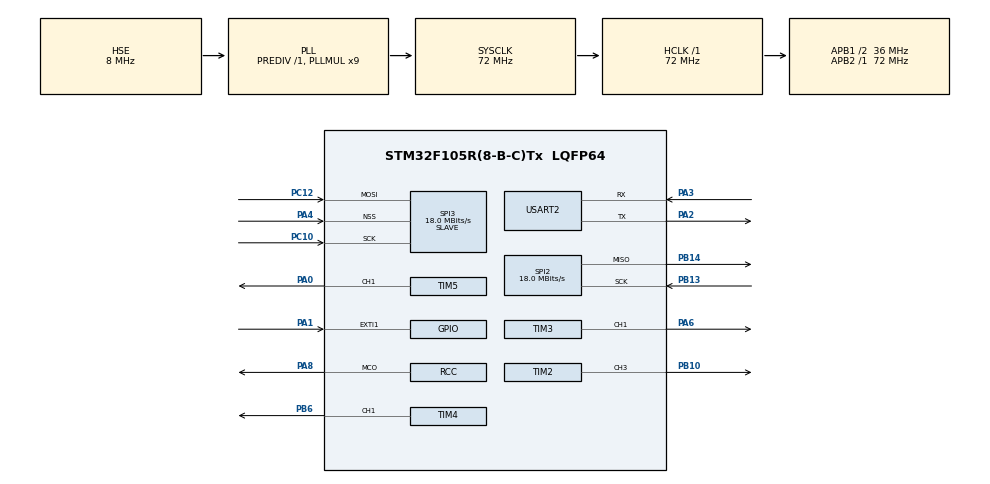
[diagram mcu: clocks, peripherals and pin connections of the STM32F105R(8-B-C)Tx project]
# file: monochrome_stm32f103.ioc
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Dma.Request0=SPI2_TX
Dma.Request1=SPI3_RX
Dma.SPI2_TX.0.Direction=DMA_MEMORY_TO_PERIPH
Dma.SPI2_TX.0.Instance=DMA1_Channel5
Dma.SPI2_TX.0.MemDataAlignment=DMA_MDATAALIGN_BYTE
Dma.SPI2_TX.0.MemInc=DMA_MINC_ENABLE
Dma.SPI2_TX.0.Mode=DMA_NORMAL
Dma.SPI2_TX.0.PeriphDataAlignment=DMA_PDATAALIGN_BYTE
Dma.SPI2_TX.0.PeriphInc=DMA_PINC_DISABLE
Dma.SPI2_TX.0.Priority=DMA_PRIORITY_VERY_HIGH
Dma.SPI3_RX.1.Direction=DMA_PERIPH_TO_MEMORY
Dma.SPI3_RX.1.Instance=DMA2_Channel1
Dma.SPI3_RX.1.MemDataAlignment=DMA_MDATAALIGN_BYTE
Dma.SPI3_RX.1.MemInc=DMA_MINC_ENABLE
Dma.SPI3_RX.1.Mode=DMA_NORMAL
Dma.SPI3_RX.1.PeriphDataAlignment=DMA_PDATAALIGN_BYTE
Dma.SPI3_RX.1.PeriphInc=DMA_PINC_DISABLE
Dma.SPI3_RX.1.Priority=DMA_PRIORITY_LOW
Mcu.Family=STM32F1
Mcu.Name=STM32F105R(8-B-C)Tx
Mcu.Package=LQFP64
NVIC.DMA1_Channel5_IRQn=true\:15\:0\:true\:false\:true\:false
NVIC.DMA2_Channel1_IRQn=true\:15\:0\:true\:false\:true\:false
NVIC.EXTI1_IRQn=true\:15\:0\:true\:false\:true\:true
NVIC.PriorityGroup=NVIC_PRIORITYGROUP_4
NVIC.TIM2_IRQn=true\:0\:0\:false\:false\:true\:true
PA0-WKUP.Signal=S_TIM5_CH1
PA1.GPIO_ModeDefaultEXTI=GPIO_MODE_IT_RISING_FALLING
PA1.Signal=GPXTI1
PA2.Mode=Asynchronous
PA2.Signal=USART2_TX
PA3.Mode=Asynchronous
PA3.Signal=USART2_RX
PA4.Mode=NSS_Signal_Hard_Input
PA4.Signal=SPI3_NSS
PA6.Signal=S_TIM3_CH1
PA8.GPIO_Speed=GPIO_SPEED_FREQ_HIGH
PA8.Mode=Clock-out
PA8.Signal=RCC_MCO
PB10.Signal=S_TIM2_CH3
PB13.Mode=TX_Only_Simplex_Unidirect_Slave
PB13.Signal=SPI2_SCK
PB14.Mode=TX_Only_Simplex_Unidirect_Slave
PB14.Signal=SPI2_MISO
PB6.Signal=S_TIM4_CH1
PC10.Mode=RX_Only_Simplex_Unidirect_Slave
PC10.Signal=SPI3_SCK
PC12.Mode=RX_Only_Simplex_Unidirect_Slave
PC12.Signal=SPI3_MOSI
PD0-OSC_IN.Mode=HSE-External-Clock-Source
PD0-OSC_IN.Signal=RCC_OSC_IN
PD1-OSC_OUT.Mode=HSE-External-Clock-Source
PD1-OSC_OUT.Signal=RCC_OSC_OUT
ProjectManager.HeapSize=0x200
ProjectManager.StackSize=0x400
ProjectManager.TargetToolchain=Makefile
RCC.AHBFreq_Value=72000000
RCC.APB1CLKDivider=RCC_HCLK_DIV2
RCC.APB1Freq_Value=36000000
RCC.APB1TimFreq_Value=72000000
RCC.APB2Freq_Value=72000000
RCC.APB2TimFreq_Value=72000000
RCC.DATA_CACHE_ENABLE=1
RCC.HCLKFreq_Value=72000000
RCC.INSTRUCTION_CACHE_ENABLE=1
RCC.PLLMUL=RCC_PLL_MUL9
RCC.PLLSourceVirtual=RCC_PLLSOURCE_HSE
RCC.PREFETCH_ENABLE=1
RCC.RCC_MCOSource=RCC_MCO1SOURCE_HSE
RCC.SYSCLKFreq_VALUE=72000000
RCC.SYSCLKSource=RCC_SYSCLKSOURCE_PLLCLK
RCC.USBFreq_Value=48000000
SH.S_TIM2_CH3.0=TIM2_CH3,PWM Generation3 CH3
SH.S_TIM3_CH1.0=TIM3_CH1,PWM Generation1 CH1
SH.S_TIM4_CH1.0=TIM4_CH1,PWM Generation1 CH1
SH.S_TIM5_CH1.0=TIM5_CH1,PWM Generation1 CH1
SPI2.BaudRatePrescaler=SPI_BAUDRATEPRESCALER_2
SPI2.CalculateBaudRate=18.0 MBits/s
SPI2.Direction=SPI_DIRECTION_2LINES
SPI2.Mode=SPI_MODE_SLAVE
SPI2.VirtualType=VM_SLAVE
SPI3.CalculateBaudRate=18.0 MBits/s
SPI3.Direction=SPI_DIRECTION_2LINES_RXONLY
SPI3.Mode=SPI_MODE_SLAVE
SPI3.VirtualNSS=VM_NSSHARD
SPI3.VirtualType=VM_SLAVE
TIM1.Period=65535
TIM1.Prescaler=2304
TIM2.Channel-PWM\ Generation3\ CH3=TIM_CHANNEL_3
TIM2.OCMode_PWM-PWM\ Generation3\ CH3=TIM_OCMODE_PWM2
TIM2.Period=2048-1
TIM2.Pulse-PWM\ Generation3\ CH3=144
TIM2.TIM_MasterOutputTrigger=TIM_TRGO_UPDATE
TIM2.TIM_MasterSlaveMode=TIM_MASTERSLAVEMODE_ENABLE
TIM3.Channel-PWM\ Generation1\ CH1=TIM_CHANNEL_1
TIM3.Channel-PWM\ Generation2\ No\ Output=TIM_CHANNEL_2
TIM3.OCMode_PWM-PWM\ Generation1\ CH1=TIM_OCMODE_PWM2
TIM3.Period=625-1
TIM3.Pulse-PWM\ Generation1\ CH1=2
TIM3.Pulse-PWM\ Generation2\ No\ Output=24+19
TIM3.TIM_MasterOutputTrigger=TIM_TRGO_UPDATE
TIM3.TIM_MasterSlaveMode=TIM_MASTERSLAVEMODE_ENABLE
TIM4.AutoReloadPreload=TIM_AUTORELOAD_PRELOAD_ENABLE
TIM4.Channel-PWM\ Generation1\ CH1=TIM_CHANNEL_1
TIM4.OCMode_PWM-PWM\ Generation1\ CH1=TIM_OCMODE_PWM2
TIM4.Period=420+49*8*4-1
TIM4.Pulse-PWM\ Generation1\ CH1=420
TIM4.TIM_MasterOutputTrigger=TIM_TRGO_OC1REF
TIM4.TIM_MasterSlaveMode=TIM_MASTERSLAVEMODE_ENABLE
TIM5.Channel-PWM\ Generation1\ CH1=TIM_CHANNEL_1
TIM5.Period=4-1
TIM5.Pulse-PWM\ Generation1\ CH1=2
USART2.VirtualMode=VM_ASYNC
VP_SYS_VS_ND.Mode=No_Debug
VP_TIM1_VS_ClockSourceINT.Mode=Internal
VP_TIM2_VS_ClockSourceINT.Mode=Internal
VP_TIM3_VS_ClockSourceINT.Mode=Internal
VP_TIM3_VS_ClockSourceITR.Mode=TriggerSource_ITR1
VP_TIM3_VS_ControllerModeGated.Mode=Gated Mode
VP_TIM3_VS_no_output2.Mode=PWM Generation2 No Output
VP_TIM4_VS_ClockSourceINT.Mode=Internal
VP_TIM4_VS_ClockSourceITR.Mode=TriggerSource_ITR1
VP_TIM4_VS_ControllerModeReset.Mode=Reset Mode
VP_TIM4_VS_OPM.Mode=OPM_bit
VP_TIM5_VS_ClockSourceINT.Mode=Internal
VP_TIM5_VS_ClockSourceITR.Mode=TriggerSource_ITR2
VP_TIM5_VS_ControllerModeGated.Mode=Gated Mode
board=vga2

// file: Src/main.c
/**
  ******************************************************************************
  * File Name          : main.c
  * Description        : Main program body
  ******************************************************************************
  ** This notice applies to any and all portions of this file
  * that are not between comment pairs USER CODE BEGIN and
  * USER CODE END. Other portions of this file, whether
  * inserted by the user or by software development tools
  * are owned by their respective copyright owners.
  *
  * COPYRIGHT(c) 2019 STMicroelectronics
  *
  * Redistribution and use in source and binary forms, with or without modification,
  * are permitted provided that the following conditions are met:
  *   1. Redistributions of source code must retain the above copyright notice,
  *      this list of conditions and the following disclaimer.
  *   2. Redistributions in binary form must reproduce the above copyright notice,
  *      this list of conditions and the following disclaimer in the documentation
  *      and/or other materials provided with the distribution.
  *   3. Neither the name of STMicroelectronics nor the names of its contributors
  *      may be used to endorse or promote products derived from this software
  *      without specific prior written permission.
  *
  * THIS SOFTWARE IS PROVIDED BY THE COPYRIGHT HOLDERS AND CONTRIBUTORS "AS IS"
  * AND ANY EXPRESS OR IMPLIED WARRANTIES, INCLUDING, BUT NOT LIMITED TO, THE
  * IMPLIED WARRANTIES OF MERCHANTABILITY AND FITNESS FOR A PARTICULAR PURPOSE ARE
  * DISCLAIMED. IN NO EVENT SHALL THE COPYRIGHT HOLDER OR CONTRIBUTORS BE LIABLE
  * FOR ANY DIRECT, INDIRECT, INCIDENTAL, SPECIAL, EXEMPLARY, OR CONSEQUENTIAL
  * DAMAGES (INCLUDING, BUT NOT LIMITED TO, PROCUREMENT OF SUBSTITUTE GOODS OR
  * SERVICES; LOSS OF USE, DATA, OR PROFITS; OR BUSINESS INTERRUPTION) HOWEVER
  * CAUSED AND ON ANY THEORY OF LIABILITY, WHETHER IN CONTRACT, STRICT LIABILITY,
  * OR TORT (INCLUDING NEGLIGENCE OR OTHERWISE) ARISING IN ANY WAY OUT OF THE USE
  * OF THIS SOFTWARE, EVEN IF ADVISED OF THE POSSIBILITY OF SUCH DAMAGE.
  *
  ******************************************************************************
  */
#include "main.h"
#include "stm32f1xx_hal.h"

/* USER CODE BEGIN Includes */
#include <string.h>
#include "old_dma.h"
#include "orion.h"
/* USER CODE END Includes */

SPI_HandleTypeDef hspi2;
SPI_HandleTypeDef hspi3;
DMA_HandleTypeDef hdma_spi2_tx;
DMA_HandleTypeDef hdma_spi3_rx;

TIM_HandleTypeDef htim1;
TIM_HandleTypeDef htim2;
TIM_HandleTypeDef htim3;
TIM_HandleTypeDef htim4;
TIM_HandleTypeDef htim5;

UART_HandleTypeDef huart2;

/* USER CODE BEGIN PV */
/* Private variables ---------------------------------------------------------*/

/* USER CODE END PV */

void SystemClock_Config(void);
static void MX_GPIO_Init(void);
static void MX_DMA_Init(void);
static void MX_SPI2_Init(void);
static void MX_SPI3_Init(void);
static void MX_TIM2_Init(void);
static void MX_USART2_UART_Init(void);
static void MX_TIM3_Init(void);
static void MX_TIM1_Init(void);
static void MX_TIM5_Init(void);
static void MX_TIM4_Init(void);

void HAL_TIM_MspPostInit(TIM_HandleTypeDef *htim);

/* USER CODE BEGIN PFP */
/* Private function prototypes -----------------------------------------------*/

/* USER CODE END PFP */

/* USER CODE BEGIN 0 */

//   sSlaveConfig.SlaveMode = TIM_SLAVEMODE_TRIGGER; для TIM4

#define BPL 52

volatile uint8_t vflag;
volatile uint16_t vdraw, vline;
volatile unsigned x = 0;

uint8_t __attribute__((aligned(4))) test[BPL * 257];

void init_screen(void)
{
    unsigned x, y;
    for(y = 0; y < 256; y++)
      for(x = 0; x < 48; x++)
          test[x+y*BPL] = orion_bin[y + x * 256];
}

volatile uint8_t start_dma;

void HAL_TIM_PeriodElapsedCallback(TIM_HandleTypeDef *htim)
//void HAL_TIM_PWM_PulseFinishedCallback(TIM_HandleTypeDef *htim)
{
    if(htim == &htim2)
    {
//        if (htim->Channel == HAL_TIM_ACTIVE_CHANNEL_1)
//        {
            uint16_t l = htim3.Instance->CNT;
            if(l >= 68 && l < 68+256*2)
            {
                HAL_SPI_Transmit_DMA(&hspi2, test, sizeof(test));
                start_dma = 1;
            }
//        }
    }
}

/* USER CODE END 0 */

int main(void)
{

  /* USER CODE BEGIN 1 */

  init_screen();

  /* USER CODE END 1 */

  /* MCU Configuration----------------------------------------------------------*/

  /* Reset of all peripherals, Initializes the Flash interface and the Systick. */
  HAL_Init();

  /* Configure the system clock */
  SystemClock_Config();

  /* Initialize all configured peripherals */
  MX_GPIO_Init();
  MX_DMA_Init();
  MX_SPI2_Init();
  MX_SPI3_Init();
  MX_TIM2_Init();
  MX_USART2_UART_Init();
  MX_TIM3_Init();
  MX_TIM1_Init();
  MX_TIM5_Init();
  MX_TIM4_Init();

  /* USER CODE BEGIN 2 */
  HAL_UART_Transmit(&huart2, (uint8_t*)"S!\r\n", 4, 1000);

  OLD_DMA_InitTypeDef DMA_InitStructure;
  DMA_InitStructure.DMA_PeripheralBaseAddr = (uint32_t)&SPI2->DR;
  DMA_InitStructure.DMA_MemoryBaseAddr = (uint32_t)test;
  DMA_InitStructure.DMA_DIR = DMA_DIR_PeripheralDST;
  DMA_InitStructure.DMA_BufferSize = 48;
  DMA_InitStructure.DMA_PeripheralInc = DMA_PeripheralInc_Disable;
  DMA_InitStructure.DMA_MemoryInc = DMA_MemoryInc_Enable;
  DMA_InitStructure.DMA_PeripheralDataSize = DMA_PeripheralDataSize_Byte;
  DMA_InitStructure.DMA_MemoryDataSize = DMA_MemoryDataSize_Byte;
  DMA_InitStructure.DMA_Mode = DMA_Mode_Normal;
  DMA_InitStructure.DMA_Priority = DMA_Priority_VeryHigh;
  DMA_InitStructure.DMA_M2M = DMA_M2M_Disable;
  OLD_DMA_Init(DMA1_Channel5, &DMA_InitStructure);

  //DMA1_Channel5->CCR &= ~DMA_CCR1_EN;
  //DMA1_Channel5->CNDTR = 64;
  //DMA1_Channel5->CMAR = (uint32_t)test;

  SPI_1LINE_TX(&hspi2);
  __HAL_SPI_ENABLE(&hspi2);
  hspi2.Instance->CR2 |= SPI_CR2_TXDMAEN;

  HAL_NVIC_SetPriority(DMA1_Channel7_IRQn, 0, 0);
  HAL_NVIC_EnableIRQ(DMA1_Channel7_IRQn);

  HAL_TIM_Base_Start(&htim1);
  HAL_TIM_Base_Start(&htim2);
//  DMA1_Channel5->CCR |= DMA_CCR1_EN;
  HAL_TIM_PWM_Start_IT(&htim2, TIM_CHANNEL_3);
  //HAL_TIM_PWM_Start_IT(&htim2, TIM_CHANNEL_2);
  //__HAL_TIM_ENABLE_DMA(&htim2, TIM_DMA_CC2); // dma7

  HAL_TIM_PWM_Start(&htim3, TIM_CHANNEL_1);
  //HAL_TIM_PWM_Start(&htim3, TIM_CHANNEL_2);
  HAL_TIM_Base_Start(&htim4);
  HAL_TIM_PWM_Start(&htim4, TIM_CHANNEL_1);
  HAL_TIM_Base_Start(&htim5);
  HAL_TIM_PWM_Start(&htim5, TIM_CHANNEL_1);

  /* USER CODE END 2 */

  /* Infinite loop */
  /* USER CODE BEGIN WHILE */
  while (1)
  {
      char buf[64];
      snprintf(buf, sizeof(buf), "%u\r\n", DMA1_Channel7->CPAR);// (unsigned int)htim3.Instance->CNT);
      HAL_UART_Transmit(&huart2, (uint8_t*)buf, strlen(buf), 1000);
  /* USER CODE END WHILE */

  }

}

/** System Clock Configuration
*/
void SystemClock_Config(void)
{

  RCC_OscInitTypeDef RCC_OscInitStruct;
  RCC_ClkInitTypeDef RCC_ClkInitStruct;

    /**Initializes the CPU, AHB and APB busses clocks
    */
  RCC_OscInitStruct.OscillatorType = RCC_OSCILLATORTYPE_HSE;
  RCC_OscInitStruct.HSEState = RCC_HSE_BYPASS;
  RCC_OscInitStruct.HSEPredivValue = RCC_HSE_PREDIV_DIV1;
  RCC_OscInitStruct.HSIState = RCC_HSI_ON;
  RCC_OscInitStruct.Prediv1Source = RCC_PREDIV1_SOURCE_HSE;
  RCC_OscInitStruct.PLL.PLLState = RCC_PLL_ON;
  RCC_OscInitStruct.PLL.PLLSource = RCC_PLLSOURCE_HSE;
  RCC_OscInitStruct.PLL.PLLMUL = RCC_PLL_MUL9;
  RCC_OscInitStruct.PLL2.PLL2State = RCC_PLL_NONE;
  if (HAL_RCC_OscConfig(&RCC_OscInitStruct) != HAL_OK)
  {
    _Error_Handler(__FILE__, __LINE__);
  }

    /**Initializes the CPU, AHB and APB busses clocks
    */
  RCC_ClkInitStruct.ClockType = RCC_CLOCKTYPE_HCLK|RCC_CLOCKTYPE_SYSCLK
                              |RCC_CLOCKTYPE_PCLK1|RCC_CLOCKTYPE_PCLK2;
  RCC_ClkInitStruct.SYSCLKSource = RCC_SYSCLKSOURCE_PLLCLK;
  RCC_ClkInitStruct.AHBCLKDivider = RCC_SYSCLK_DIV1;
  RCC_ClkInitStruct.APB1CLKDivider = RCC_HCLK_DIV2;
  RCC_ClkInitStruct.APB2CLKDivider = RCC_HCLK_DIV1;

  if (HAL_RCC_ClockConfig(&RCC_ClkInitStruct, FLASH_LATENCY_2) != HAL_OK)
  {
    _Error_Handler(__FILE__, __LINE__);
  }

  HAL_RCC_MCOConfig(RCC_MCO, RCC_MCO1SOURCE_HSE, RCC_MCODIV_1);

    /**Configure the Systick interrupt time
    */
  HAL_SYSTICK_Config(HAL_RCC_GetHCLKFreq()/1000);

    /**Configure the Systick
    */
  HAL_SYSTICK_CLKSourceConfig(SYSTICK_CLKSOURCE_HCLK);

    /**Configure the Systick interrupt time
    */
  __HAL_RCC_PLLI2S_ENABLE();

  /* SysTick_IRQn interrupt configuration */
  HAL_NVIC_SetPriority(SysTick_IRQn, 0, 0);
}

/* SPI2 init function */
static void MX_SPI2_Init(void)
{

  /* SPI2 parameter configuration*/
  hspi2.Instance = SPI2;
  hspi2.Init.Mode = SPI_MODE_SLAVE;
  hspi2.Init.Direction = SPI_DIRECTION_2LINES;
  hspi2.Init.DataSize = SPI_DATASIZE_8BIT;
  hspi2.Init.CLKPolarity = SPI_POLARITY_LOW;
  hspi2.Init.CLKPhase = SPI_PHASE_1EDGE;
  hspi2.Init.NSS = SPI_NSS_SOFT;
  hspi2.Init.BaudRatePrescaler = SPI_BAUDRATEPRESCALER_2;
  hspi2.Init.FirstBit = SPI_FIRSTBIT_MSB;
  hspi2.Init.TIMode = SPI_TIMODE_DISABLE;
  hspi2.Init.CRCCalculation = SPI_CRCCALCULATION_DISABLE;
  hspi2.Init.CRCPolynomial = 10;
  if (HAL_SPI_Init(&hspi2) != HAL_OK)
  {
    _Error_Handler(__FILE__, __LINE__);
  }

}

/* SPI3 init function */
static void MX_SPI3_Init(void)
{

  /* SPI3 parameter configuration*/
  hspi3.Instance = SPI3;
  hspi3.Init.Mode = SPI_MODE_SLAVE;
  hspi3.Init.Direction = SPI_DIRECTION_2LINES_RXONLY;
  hspi3.Init.DataSize = SPI_DATASIZE_8BIT;
  hspi3.Init.CLKPolarity = SPI_POLARITY_LOW;
  hspi3.Init.CLKPhase = SPI_PHASE_1EDGE;
  hspi3.Init.NSS = SPI_NSS_HARD_INPUT;
  hspi3.Init.BaudRatePrescaler = SPI_BAUDRATEPRESCALER_2;
  hspi3.Init.FirstBit = SPI_FIRSTBIT_MSB;
  hspi3.Init.TIMode = SPI_TIMODE_DISABLE;
  hspi3.Init.CRCCalculation = SPI_CRCCALCULATION_DISABLE;
  hspi3.Init.CRCPolynomial = 10;
  if (HAL_SPI_Init(&hspi3) != HAL_OK)
  {
    _Error_Handler(__FILE__, __LINE__);
  }

}

/* TIM1 init function */
static void MX_TIM1_Init(void)
{

  TIM_ClockConfigTypeDef sClockSourceConfig;
  TIM_MasterConfigTypeDef sMasterConfig;

  htim1.Instance = TIM1;
  htim1.Init.Prescaler = 2304;
  htim1.Init.CounterMode = TIM_COUNTERMODE_UP;
  htim1.Init.Period = 65535;
  htim1.Init.ClockDivision = TIM_CLOCKDIVISION_DIV1;
  htim1.Init.RepetitionCounter = 0;
  htim1.Init.AutoReloadPreload = TIM_AUTORELOAD_PRELOAD_DISABLE;
  if (HAL_TIM_Base_Init(&htim1) != HAL_OK)
  {
    _Error_Handler(__FILE__, __LINE__);
  }

  sClockSourceConfig.ClockSource = TIM_CLOCKSOURCE_INTERNAL;
  if (HAL_TIM_ConfigClockSource(&htim1, &sClockSourceConfig) != HAL_OK)
  {
    _Error_Handler(__FILE__, __LINE__);
  }

  sMasterConfig.MasterOutputTrigger = TIM_TRGO_RESET;
  sMasterConfig.MasterSlaveMode = TIM_MASTERSLAVEMODE_DISABLE;
  if (HAL_TIMEx_MasterConfigSynchronization(&htim1, &sMasterConfig) != HAL_OK)
  {
    _Error_Handler(__FILE__, __LINE__);
  }

}

/* TIM2 init function */
static void MX_TIM2_Init(void)
{

  TIM_ClockConfigTypeDef sClockSourceConfig;
  TIM_MasterConfigTypeDef sMasterConfig;
  TIM_OC_InitTypeDef sConfigOC;

  htim2.Instance = TIM2;
  htim2.Init.Prescaler = 0;
  htim2.Init.CounterMode = TIM_COUNTERMODE_UP;
  htim2.Init.Period = 2048-1;
  htim2.Init.ClockDivision = TIM_CLOCKDIVISION_DIV1;
  htim2.Init.AutoReloadPreload = TIM_AUTORELOAD_PRELOAD_DISABLE;
  if (HAL_TIM_Base_Init(&htim2) != HAL_OK)
  {
    _Error_Handler(__FILE__, __LINE__);
  }

  sClockSourceConfig.ClockSource = TIM_CLOCKSOURCE_INTERNAL;
  if (HAL_TIM_ConfigClockSource(&htim2, &sClockSourceConfig) != HAL_OK)
  {
    _Error_Handler(__FILE__, __LINE__);
  }

  if (HAL_TIM_PWM_Init(&htim2) != HAL_OK)
  {
    _Error_Handler(__FILE__, __LINE__);
  }

  sMasterConfig.MasterOutputTrigger = TIM_TRGO_UPDATE;
  sMasterConfig.MasterSlaveMode = TIM_MASTERSLAVEMODE_ENABLE;
  if (HAL_TIMEx_MasterConfigSynchronization(&htim2, &sMasterConfig) != HAL_OK)
  {
    _Error_Handler(__FILE__, __LINE__);
  }

  sConfigOC.OCMode = TIM_OCMODE_PWM2;
  sConfigOC.Pulse = 144;
  sConfigOC.OCPolarity = TIM_OCPOLARITY_HIGH;
  sConfigOC.OCFastMode = TIM_OCFAST_DISABLE;
  if (HAL_TIM_PWM_ConfigChannel(&htim2, &sConfigOC, TIM_CHANNEL_3) != HAL_OK)
  {
    _Error_Handler(__FILE__, __LINE__);
  }

  HAL_TIM_MspPostInit(&htim2);

}

/* TIM3 init function */
static void MX_TIM3_Init(void)
{

  TIM_ClockConfigTypeDef sClockSourceConfig;
  TIM_SlaveConfigTypeDef sSlaveConfig;
  TIM_MasterConfigTypeDef sMasterConfig;
  TIM_OC_InitTypeDef sConfigOC;

  htim3.Instance = TIM3;
  htim3.Init.Prescaler = 0;
  htim3.Init.CounterMode = TIM_COUNTERMODE_UP;
  htim3.Init.Period = 625-1;
  htim3.Init.ClockDivision = TIM_CLOCKDIVISION_DIV1;
  htim3.Init.AutoReloadPreload = TIM_AUTORELOAD_PRELOAD_DISABLE;
  if (HAL_TIM_Base_Init(&htim3) != HAL_OK)
  {
    _Error_Handler(__FILE__, __LINE__);
  }

  sClockSourceConfig.ClockSource = TIM_CLOCKSOURCE_INTERNAL;
  if (HAL_TIM_ConfigClockSource(&htim3, &sClockSourceConfig) != HAL_OK)
  {
    _Error_Handler(__FILE__, __LINE__);
  }

  if (HAL_TIM_PWM_Init(&htim3) != HAL_OK)
  {
    _Error_Handler(__FILE__, __LINE__);
  }

  sSlaveConfig.SlaveMode = TIM_SLAVEMODE_GATED;
  sSlaveConfig.InputTrigger = TIM_TS_ITR1;
  if (HAL_TIM_SlaveConfigSynchronization(&htim3, &sSlaveConfig) != HAL_OK)
  {
    _Error_Handler(__FILE__, __LINE__);
  }

  sMasterConfig.MasterOutputTrigger = TIM_TRGO_UPDATE;
  sMasterConfig.MasterSlaveMode = TIM_MASTERSLAVEMODE_ENABLE;
  if (HAL_TIMEx_MasterConfigSynchronization(&htim3, &sMasterConfig) != HAL_OK)
  {
    _Error_Handler(__FILE__, __LINE__);
  }

  sConfigOC.OCMode = TIM_OCMODE_PWM2;
  sConfigOC.Pulse = 2;
  sConfigOC.OCPolarity = TIM_OCPOLARITY_HIGH;
  sConfigOC.OCFastMode = TIM_OCFAST_DISABLE;
  if (HAL_TIM_PWM_ConfigChannel(&htim3, &sConfigOC, TIM_CHANNEL_1) != HAL_OK)
  {
    _Error_Handler(__FILE__, __LINE__);
  }

  sConfigOC.OCMode = TIM_OCMODE_PWM1;
  sConfigOC.Pulse = 24+19;
  if (HAL_TIM_PWM_ConfigChannel(&htim3, &sConfigOC, TIM_CHANNEL_2) != HAL_OK)
  {
    _Error_Handler(__FILE__, __LINE__);
  }

  HAL_TIM_MspPostInit(&htim3);

}

/* TIM4 init function */
static void MX_TIM4_Init(void)
{

  TIM_ClockConfigTypeDef sClockSourceConfig;
  TIM_SlaveConfigTypeDef sSlaveConfig;
  TIM_MasterConfigTypeDef sMasterConfig;
  TIM_OC_InitTypeDef sConfigOC;

  htim4.Instance = TIM4;
  htim4.Init.Prescaler = 0;
  htim4.Init.CounterMode = TIM_COUNTERMODE_UP;
  htim4.Init.Period = 400+49*8*4-1;
  htim4.Init.ClockDivision = TIM_CLOCKDIVISION_DIV1;
  htim4.Init.AutoReloadPreload = TIM_AUTORELOAD_PRELOAD_ENABLE;
  if (HAL_TIM_Base_Init(&htim4) != HAL_OK)
  {
    _Error_Handler(__FILE__, __LINE__);
  }

  sClockSourceConfig.ClockSource = TIM_CLOCKSOURCE_INTERNAL;
  if (HAL_TIM_ConfigClockSource(&htim4, &sClockSourceConfig) != HAL_OK)
  {
    _Error_Handler(__FILE__, __LINE__);
  }

  if (HAL_TIM_PWM_Init(&htim4) != HAL_OK)
  {
    _Error_Handler(__FILE__, __LINE__);
  }

  if (HAL_TIM_OnePulse_Init(&htim4, TIM_OPMODE_SINGLE) != HAL_OK)
  {
    _Error_Handler(__FILE__, __LINE__);
  }

  sSlaveConfig.SlaveMode = TIM_SLAVEMODE_TRIGGER;
  sSlaveConfig.InputTrigger = TIM_TS_ITR1;
  if (HAL_TIM_SlaveConfigSynchronization(&htim4, &sSlaveConfig) != HAL_OK)
  {
    _Error_Handler(__FILE__, __LINE__);
  }

  sMasterConfig.MasterOutputTrigger = TIM_TRGO_OC1REF;
  sMasterConfig.MasterSlaveMode = TIM_MASTERSLAVEMODE_ENABLE;
  if (HAL_TIMEx_MasterConfigSynchronization(&htim4, &sMasterConfig) != HAL_OK)
  {
    _Error_Handler(__FILE__, __LINE__);
  }

  sConfigOC.OCMode = TIM_OCMODE_PWM2;
  sConfigOC.Pulse = 400;
  sConfigOC.OCPolarity = TIM_OCPOLARITY_HIGH;
  sConfigOC.OCFastMode = TIM_OCFAST_DISABLE;
  if (HAL_TIM_PWM_ConfigChannel(&htim4, &sConfigOC, TIM_CHANNEL_1) != HAL_OK)
  {
    _Error_Handler(__FILE__, __LINE__);
  }

  HAL_TIM_MspPostInit(&htim4);

}

/* TIM5 init function */
static void MX_TIM5_Init(void)
{

  TIM_ClockConfigTypeDef sClockSourceConfig;
  TIM_SlaveConfigTypeDef sSlaveConfig;
  TIM_MasterConfigTypeDef sMasterConfig;
  TIM_OC_InitTypeDef sConfigOC;

  htim5.Instance = TIM5;
  htim5.Init.Prescaler = 0;
  htim5.Init.CounterMode = TIM_COUNTERMODE_UP;
  htim5.Init.Period = 4-1;
  htim5.Init.ClockDivision = TIM_CLOCKDIVISION_DIV1;
  htim5.Init.AutoReloadPreload = TIM_AUTORELOAD_PRELOAD_DISABLE;
  if (HAL_TIM_Base_Init(&htim5) != HAL_OK)
  {
    _Error_Handler(__FILE__, __LINE__);
  }

  sClockSourceConfig.ClockSource = TIM_CLOCKSOURCE_INTERNAL;
  if (HAL_TIM_ConfigClockSource(&htim5, &sClockSourceConfig) != HAL_OK)
  {
    _Error_Handler(__FILE__, __LINE__);
  }

  if (HAL_TIM_PWM_Init(&htim5) != HAL_OK)
  {
    _Error_Handler(__FILE__, __LINE__);
  }

  sSlaveConfig.SlaveMode = TIM_SLAVEMODE_GATED;
  sSlaveConfig.InputTrigger = TIM_TS_ITR2;
  if (HAL_TIM_SlaveConfigSynchronization(&htim5, &sSlaveConfig) != HAL_OK)
  {
    _Error_Handler(__FILE__, __LINE__);
  }

  sMasterConfig.MasterOutputTrigger = TIM_TRGO_RESET;
  sMasterConfig.MasterSlaveMode = TIM_MASTERSLAVEMODE_DISABLE;
  if (HAL_TIMEx_MasterConfigSynchronization(&htim5, &sMasterConfig) != HAL_OK)
  {
    _Error_Handler(__FILE__, __LINE__);
  }

  sConfigOC.OCMode = TIM_OCMODE_PWM1;
  sConfigOC.Pulse = 2;
  sConfigOC.OCPolarity = TIM_OCPOLARITY_HIGH;
  sConfigOC.OCFastMode = TIM_OCFAST_DISABLE;
  if (HAL_TIM_PWM_ConfigChannel(&htim5, &sConfigOC, TIM_CHANNEL_1) != HAL_OK)
  {
    _Error_Handler(__FILE__, __LINE__);
  }

  HAL_TIM_MspPostInit(&htim5);

}

/* USART2 init function */
static void MX_USART2_UART_Init(void)
{

  huart2.Instance = USART2;
  huart2.Init.BaudRate = 115200;
  huart2.Init.WordLength = UART_WORDLENGTH_8B;
  huart2.Init.StopBits = UART_STOPBITS_1;
  huart2.Init.Parity = UART_PARITY_NONE;
  huart2.Init.Mode = UART_MODE_TX_RX;
  huart2.Init.HwFlowCtl = UART_HWCONTROL_NONE;
  huart2.Init.OverSampling = UART_OVERSAMPLING_16;
  if (HAL_UART_Init(&huart2) != HAL_OK)
  {
    _Error_Handler(__FILE__, __LINE__);
  }

}

static void MX_DMA_Init(void)
{
  /* DMA controller clock enable */
  __HAL_RCC_DMA1_CLK_ENABLE();
  __HAL_RCC_DMA2_CLK_ENABLE();

  /* DMA interrupt init */
  /* DMA1_Channel5_IRQn interrupt configuration */
  HAL_NVIC_SetPriority(DMA1_Channel5_IRQn, 15, 0);
  HAL_NVIC_EnableIRQ(DMA1_Channel5_IRQn);
  /* DMA2_Channel1_IRQn interrupt configuration */
  HAL_NVIC_SetPriority(DMA2_Channel1_IRQn, 15, 0);
  HAL_NVIC_EnableIRQ(DMA2_Channel1_IRQn);

}

/** Configure pins as
        * Analog
        * Input
        * Output
        * EVENT_OUT
        * EXTI
     PA8   ------> RCC_MCO
*/
static void MX_GPIO_Init(void)
{

  GPIO_InitTypeDef GPIO_InitStruct;

  /* GPIO Ports Clock Enable */
  __HAL_RCC_GPIOD_CLK_ENABLE();
  __HAL_RCC_GPIOA_CLK_ENABLE();
  __HAL_RCC_GPIOB_CLK_ENABLE();
  __HAL_RCC_GPIOC_CLK_ENABLE();

  /*Configure GPIO pin : PA1 */
  GPIO_InitStruct.Pin = GPIO_PIN_1;
  GPIO_InitStruct.Mode = GPIO_MODE_IT_RISING_FALLING;
  GPIO_InitStruct.Pull = GPIO_NOPULL;
  HAL_GPIO_Init(GPIOA, &GPIO_InitStruct);

  /*Configure GPIO pin : PA8 */
  GPIO_InitStruct.Pin = GPIO_PIN_8;
  GPIO_InitStruct.Mode = GPIO_MODE_AF_PP;
  GPIO_InitStruct.Speed = GPIO_SPEED_FREQ_HIGH;
  HAL_GPIO_Init(GPIOA, &GPIO_InitStruct);

  /* EXTI interrupt init*/
  HAL_NVIC_SetPriority(EXTI1_IRQn, 15, 0);
  HAL_NVIC_EnableIRQ(EXTI1_IRQn);

}

void _Error_Handler(char * file, int line)
{
  while(1)
  {
  }
}

/************************ (C) COPYRIGHT STMicroelectronics *****END OF FILE****/
